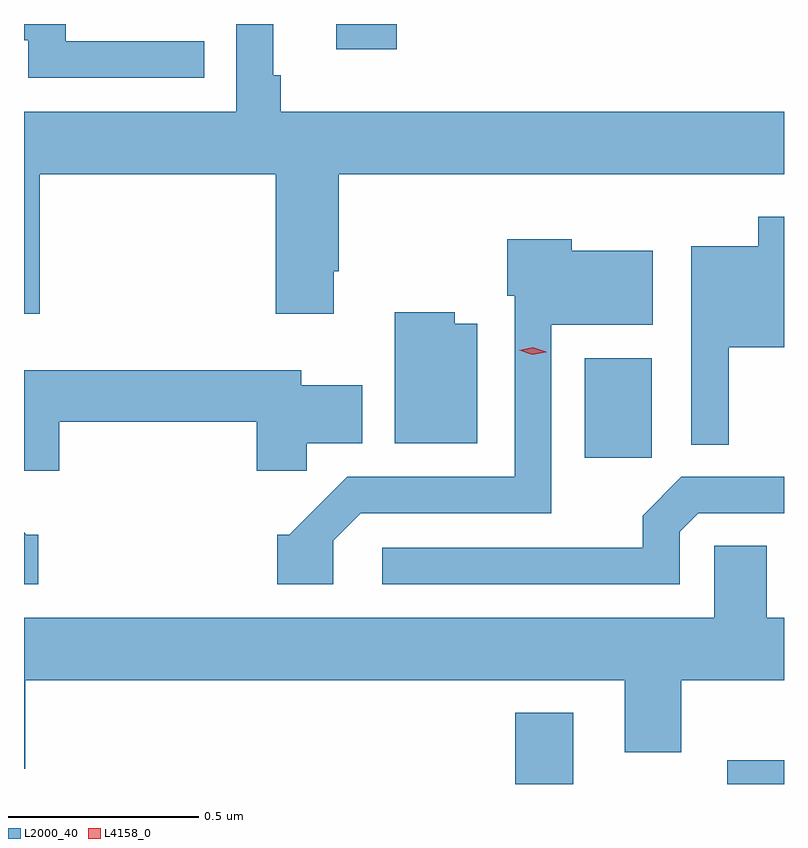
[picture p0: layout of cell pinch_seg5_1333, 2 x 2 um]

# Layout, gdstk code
import gdstk
lib = gdstk.Library(unit=1e-6, precision=1e-09)
def R(c, l, rs):  # rectangles x0, y0, x1, y1
    for r in rs: c.add(gdstk.rectangle(r[:2], r[2:], *l))
def P(c, l, *ps):  # polygons
    for p in ps: c.add(gdstk.Polygon(p, *l))
L2000_40 = (2000, 40)
L4158_0 = (4158, 0)

pinch_seg5_1333 = lib.new_cell('pinch_seg5_1333')
R(pinch_seg5_1333, L2000_40, [(399.353,845.831,399.505,846.019), (399.91,845.831,400.06,845.893), (399.536,846.689,399.712,846.952), (398.882,847.764,399.041,847.831)])
P(pinch_seg5_1333, L2000_40, [(398.102,847.436),(398.723,847.436),(398.723,847.068),(398.875,847.068),(398.875,847.18),(398.888,847.18),(398.888,847.436),(400.06,847.436),(400.06,847.6),(398.735,847.6),(398.735,847.696),(398.716,847.696),(398.716,847.831),(398.619,847.831),(398.619,847.6),(398.06,847.6),(398.06,847.068),(398.102,847.068)],
  [(398.534,847.785),(398.17,847.785),(398.17,847.831),(398.06,847.831),(398.06,847.788),(398.071,847.788),(398.071,847.689),(398.534,847.689)],
  [(399.914,846.98),(400.06,846.98),(400.06,847.324),(399.992,847.324),(399.992,847.246),(399.816,847.246),(399.816,846.724),(399.914,846.724)],
  [(398.874,846.471),(398.946,846.543),(399.447,846.543),(399.447,847.04),(399.715,847.04),(399.715,847.234),(399.501,847.234),(399.501,847.264),(399.332,847.264),(399.332,847.116),(399.351,847.116),(399.351,846.639),(398.91,846.639),(398.758,846.487),(398.727,846.487),(398.727,846.357),(398.874,846.357)],
  [(399.253,847.042),(399.193,847.042),(399.193,847.072),(399.035,847.072),(399.035,846.728),(399.253,846.728)],
  [(398.153,846.784),(398.672,846.784),(398.672,846.656),(398.804,846.656),(398.804,846.728),(398.95,846.728),(398.95,846.88),(398.79,846.88),(398.79,846.92),(398.06,846.92),(398.06,846.656),(398.153,846.656)],
  [(399.786,846.495),(399.834,846.543),(400.06,846.543),(400.06,846.639),(399.789,846.639),(399.688,846.537),(399.688,846.453),(399.003,846.453),(399.003,846.357),(399.786,846.357)],
  [(398.098,846.487),(398.066,846.487),(398.06,846.493),(398.06,846.357),(398.098,846.357)],
  [(398.063,846.104),(399.641,846.104),(399.641,845.914),(399.789,845.914),(399.789,846.104),(400.06,846.104),(400.06,846.268),(400.015,846.268),(400.015,846.458),(399.876,846.458),(399.876,846.268),(398.06,846.268),(398.06,845.871),(398.063,845.871)])
P(pinch_seg5_1333, L4158_0, [(399.398,846.96),(399.363,846.972),(399.363,846.972),(399.363,846.972),(399.399,846.98),(399.434,846.968),(399.434,846.968),(399.434,846.967)])

lib.write_gds('pinch_seg5_1333.gds')
